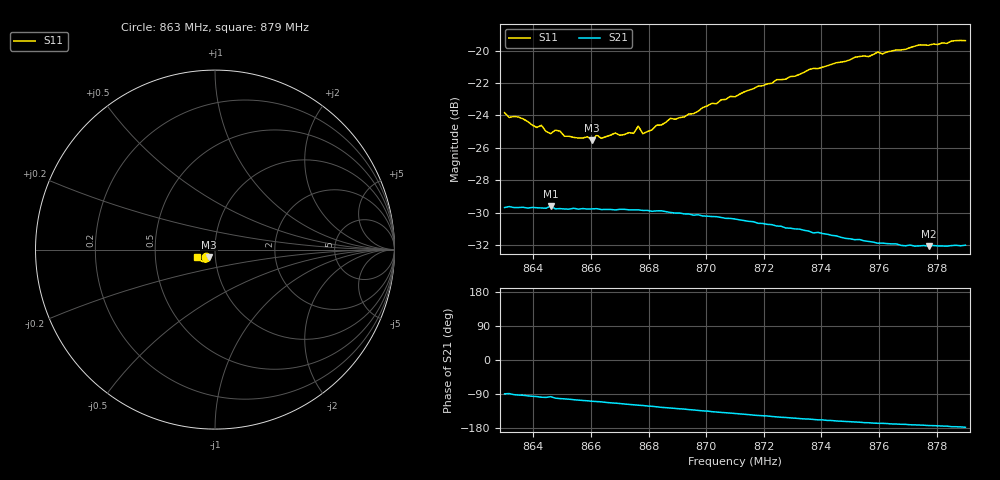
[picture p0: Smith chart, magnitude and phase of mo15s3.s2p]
# HZ S RI R 50
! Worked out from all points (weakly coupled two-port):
!   101 points, 863 MHz to 879 MHz, reference 50 ohm
!   highest |S21| = -29.59 dB at 864.6 MHz (marker M1); lowest = -32.1 dB at 877.72 MHz (marker M2)
!   lowest |S11| = -25.5 dB at 866.04 MHz (marker M3), VSWR 1.11, Z = 46.6 - j3.83 ohm
!   |S11| at or under -10 dB: start of sweep to end of sweep
!   S12 and S22 are empty: the file has one direction only
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8.63e8  -0.0504 -0.04  0.000446 -0.0328  0 0  0 0
8.6412e8  -0.0432 -0.0386  -0.00375 -0.0325  0 0  0 0
8.6428e8  -0.0429 -0.0402  -0.00464 -0.0323  0 0  0 0
8.646e8  -0.0409 -0.0374  -0.00386 -0.0329  0 0  0 0
8.6476e8  -0.0408 -0.0394  -0.00601 -0.0319  0 0  0 0
8.6508e8  -0.0376 -0.0393  -0.00709 -0.0317  0 0  0 0
8.6572e8  -0.0341 -0.0415  -0.00943 -0.0311  0 0  0 0
8.6604e8  -0.0335 -0.041  -0.0105 -0.0307  0 0  0 0
8.662e8  -0.035 -0.0422  -0.011 -0.0306  0 0  0 0
8.6636e8  -0.0342 -0.0413  -0.0112 -0.0303  0 0  0 0
8.6684e8  -0.0327 -0.045  -0.013 -0.0295  0 0  0 0
8.6748e8  -0.03 -0.0467  -0.0152 -0.0284  0 0  0 0
8.6764e8  -0.0319 -0.049  -0.0158 -0.0281  0 0  0 0
8.678e8  -0.0288 -0.0473  -0.0161 -0.0278  0 0  0 0
8.6844e8  -0.0301 -0.0506  -0.0184 -0.0263  0 0  0 0
8.6876e8  -0.0309 -0.0535  -0.0189 -0.0254  0 0  0 0
8.6924e8  -0.0308 -0.0543  -0.02 -0.0241  0 0  0 0
8.71e8  -0.0366 -0.062  -0.0235 -0.019  0 0  0 0
8.7372e8  -0.0537 -0.0697  -0.0251 -0.0108  0 0  0 0
8.7644e8  -0.0783 -0.0617  -0.0248 -0.00494  0 0  0 0
8.7772e8  -0.0889 -0.0535  -0.0247 -0.00302  0 0  0 0
8.79e8  -0.0984 -0.0426  -0.0251 -0.00112  0 0  0 0
